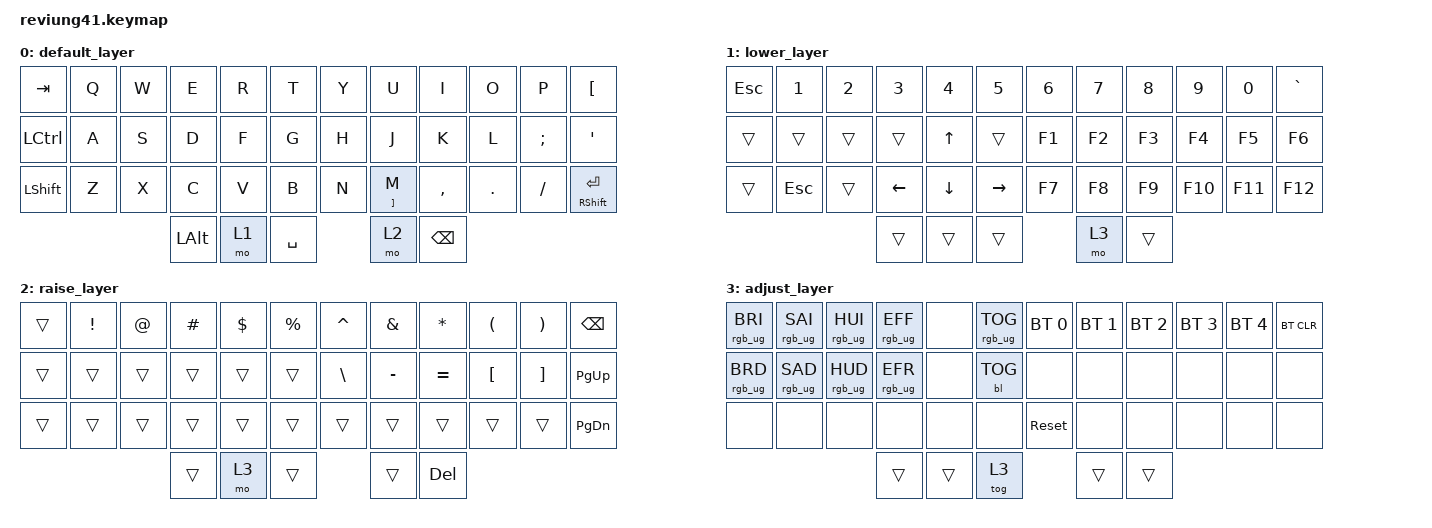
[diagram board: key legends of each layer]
/*
 * Copyright (c) 2020 The ZMK Contributors
 *
 * SPDX-License-Identifier: MIT
 */

#include <behaviors.dtsi>
#include <dt-bindings/zmk/backlight.h>
#include <dt-bindings/zmk/bt.h>
#include <dt-bindings/zmk/keys.h>
#include <dt-bindings/zmk/keys.h>
#include <dt-bindings/zmk/rgb.h>

&mt {
    tapping-term-ms = <300>;
    flavor = "tap-preferred";
};

/ {
    combos {
        compatible = "zmk,combos";

        combo_prntscrn {
            bindings = <&kp PRINTSCREEN>;
            key-positions = <25 26 27>;
        };

        caps_toggle {
            bindings = <&kt CAPSLOCK>;
            key-positions = <11 10>;
        };

        gui {
            bindings = <&kp LEFT_GUI>;
            key-positions = <36 37>;
        };
    };

    keymap {
        compatible = "zmk,keymap";

        default_layer {
            // -------------------------------------------------------------------------------------
            // |  TAB |  Q  |  W  |  E  |  R  |  T  |   |  Y  |  U   |  I  |  O  |  P  |   BKSP    |
            // | CTRL |  A  |  S  |  D  |  F  |  G  |   |  H  |  J   |  K  |  L  |  ;  |    '      |
            // | SHFT |  Z  |  X  |  C  |  V  |  B  |   |  N  |  M   |  ,  |  .  |  /  | SHFT(RET) |
            //                         | ALT | LWR | SPC | RSE  | ALT |

            bindings = <
&kp TAB    &kp Q  &kp W  &kp E     &kp R  &kp T             &kp Y  &kp U                &kp I          &kp O    &kp P     &kp LEFT_BRACKET
&kp LCTRL  &kp A  &kp S  &kp D     &kp F  &kp G             &kp H  &kp J                &kp K          &kp L    &kp SEMI  &kp SQT
&kp LSHFT  &kp Z  &kp X  &kp C     &kp V  &kp B             &kp N  &mt RIGHT_BRACKET M  &kp COMMA      &kp DOT  &kp FSLH  &mt RSHFT RET
                         &kp LALT  &mo 1         &kp SPACE         &mo 2                &kp BACKSPACE
            >;
        };

        lower_layer {
            // ------------------------------------------------------------------------------------
            // |    |  !  |  @  |  #  |  $  |  %  |   |  ^  |  &  |  *  |  (  |  )  |      DEL    |
            // |    |  _  |  +  |  {  |  }  | "|" |   | LFT | DWN |  UP | RGT |  `  |       ~     |
            // |    | ESC | GUI | ALT | CAPS|  "  |   | HOME| END | PGUP| PGDN| PRSC| SHFT(SPACE) |
            //                       |     |     | RET | ADJ |     |

            bindings = <
&kp ESCAPE  &kp N1   &kp N2  &kp N3          &kp NUMBER_4    &kp N5             &kp NUMBER_6  &kp NUMBER_7  &kp NUMBER_8  &kp NUMBER_9  &kp N0   &kp GRAVE
&trans      &trans   &trans  &trans          &kp UP_ARROW    &trans             &kp F1        &kp F2        &kp F3        &kp F4        &kp F5   &kp F6
&trans      &kp ESC  &trans  &kp LEFT_ARROW  &kp DOWN_ARROW  &kp RIGHT          &kp F7        &kp F8        &kp F9        &kp F10       &kp F11  &kp F12
                             &trans          &trans                     &trans                &mo 3         &trans
            >;
        };

        raise_layer {
            // ----------------------------------------------------------------------------
            // |    |  1  |  2  |  3  |  4  |  5  |   |  6  |  7  |  8  |  9  |  0  | DEL |
            // |    |  -  |  =  |  [  |  ]  |  \  |   | F1  | F2  | F3  | F4  | F5  | F6  |
            // |    | ESC | GUI | ALT | CAPS|  "  |   | F7  | F8  | F9  | F10 | F11 | F12 |
            //                       |     | ADJ | BKSP |    |     |

            bindings = <
&trans  &kp EXCLAMATION  &kp AT_SIGN  &kp HASH  &kp DOLLAR  &kp PERCENT          &kp CARET      &kp AMPERSAND  &kp ASTERISK  &kp LEFT_PARENTHESIS  &kp RIGHT_PARENTHESIS  &kp BACKSPACE
&trans  &trans           &trans       &trans    &trans      &trans               &kp BACKSLASH  &kp MINUS      &kp EQUAL     &kp LEFT_BRACKET      &kp RIGHT_BRACKET      &kp PAGE_UP
&trans  &trans           &trans       &trans    &trans      &trans               &trans         &trans         &trans        &trans                &trans                 &kp PAGE_DOWN
                                      &trans    &mo 3                    &trans                 &trans         &kp DEL
            >;
        };

        adjust_layer {
            // -----------------------------------------------------------------------------------------
            // | RGB BRI+ | RGB SAT+ | RGB HUE+ | RGB ANI+ |    | RGB TOG |   |  BT1  | BT2 | BT3 | BT4 | BT5 | BT CLR |
            // | RGB BRI- | RGB SAT- | RGB HUE- | RGB ANI- |    |         |   |       |     |     |     |     |        |
            // |          |          |          |          |    |         |   | RESET |     |     |     |     |        |
            //                                              |     |     |     |     |     |

            bindings = <
&rgb_ug RGB_BRI  &rgb_ug RGB_SAI  &rgb_ug RGB_HUI  &rgb_ug RGB_EFF  &none   &rgb_ug RGB_TOG          &bt BT_SEL 0  &bt BT_SEL 1  &bt BT_SEL 2  &bt BT_SEL 3  &bt BT_SEL 4  &bt BT_CLR
&rgb_ug RGB_BRD  &rgb_ug RGB_SAD  &rgb_ug RGB_HUD  &rgb_ug RGB_EFR  &none   &bl BL_TOG               &none         &none         &none         &none         &none         &none
&none            &none            &none            &none            &none   &none                    &sys_reset    &none         &none         &none         &none         &none
                                                   &trans           &trans                   &tog 3                &trans        &trans
            >;
        };
    };
};
